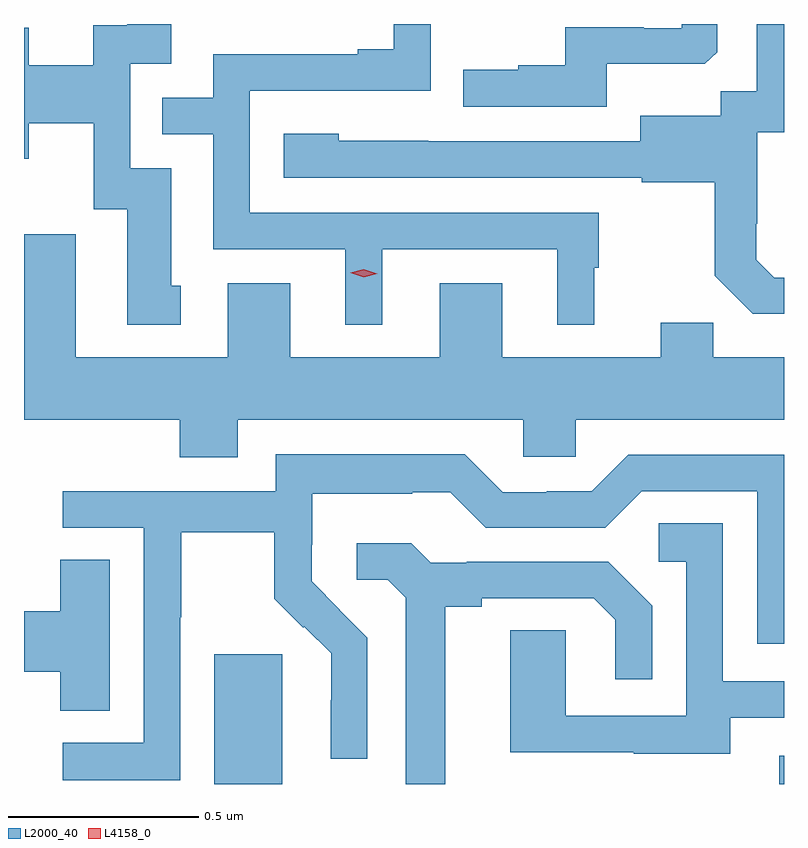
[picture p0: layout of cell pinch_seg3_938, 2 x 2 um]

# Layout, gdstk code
import gdstk
lib = gdstk.Library(unit=1e-6, precision=1e-09)
def R(c, l, rs):  # rectangles x0, y0, x1, y1
    for r in rs: c.add(gdstk.rectangle(r[:2], r[2:], *l))
def P(c, l, *ps):  # polygons
    for p in ps: c.add(gdstk.Polygon(p, *l))
L2000_40 = (2000, 40)
L4158_0 = (4158, 0)

pinch_seg3_938 = lib.new_cell('pinch_seg3_938')
R(pinch_seg3_938, L2000_40, [(862.403,675.981,862.582,676.323), (863.891,675.981,863.903,676.056)])
P(pinch_seg3_938, L2000_40, [(862.315,677.292),(862.291,677.292),(862.291,677.601),(862.182,677.601),(862.182,677.877),(862.291,677.877),(862.291,677.981),(862.175,677.981),(862.175,677.978),(862.085,677.978),(862.085,677.872),(861.916,677.872),(861.916,677.971),(861.903,677.971),(861.903,677.627),(861.916,677.627),(861.916,677.72),(862.086,677.72),(862.086,677.493),(862.175,677.493),(862.175,677.19),(862.315,677.19)],
  [(862.846,677.388),(863.306,677.388),(863.306,677.189),(863.404,677.189),(863.404,677.34),(863.416,677.34),(863.416,677.484),(862.497,677.484),(862.497,677.805),(862.974,677.805),(862.974,677.981),(862.876,677.981),(862.876,677.914),(862.781,677.914),(862.781,677.901),(862.401,677.901),(862.401,677.787),(862.267,677.787),(862.267,677.691),(862.401,677.691),(862.401,677.388),(862.748,677.388),(862.748,677.189),(862.846,677.189)],
  [(863.437,677.876),(863.695,677.876),(863.727,677.907),(863.727,677.981),(863.634,677.981),(863.634,677.97),(863.534,677.97),(863.534,677.973),(863.327,677.973),(863.327,677.872),(863.203,677.872),(863.203,677.86),(863.059,677.86),(863.059,677.763),(863.437,677.763)],
  [(863.903,677.313),(863.877,677.313),(863.83,677.36),(863.83,677.455),(863.832,677.455),(863.832,677.696),(863.903,677.696),(863.903,677.981),(863.831,677.981),(863.831,677.804),(863.736,677.804),(863.736,677.74),(863.525,677.74),(863.525,677.673),(862.967,677.673),(862.967,677.674),(862.731,677.674),(862.731,677.692),(862.587,677.692),(862.587,677.577),(863.529,677.577),(863.529,677.565),(863.721,677.565),(863.721,677.319),(863.821,677.219),(863.903,677.219)],
  [(862.465,676.94),(863.217,676.94),(863.217,676.842),(863.355,676.842),(863.355,676.94),(863.903,676.94),(863.903,677.104),(863.717,677.104),(863.717,677.195),(863.579,677.195),(863.579,677.104),(863.161,677.104),(863.161,677.299),(862.997,677.299),(862.997,677.104),(862.603,677.104),(862.603,677.299),(862.439,677.299),(862.439,677.104),(862.039,677.104),(862.039,677.428),(861.903,677.428),(861.903,676.94),(862.313,676.94),(862.313,676.841),(862.465,676.841)],
  [(862.314,676.42),(862.317,676.42),(862.317,676.644),(862.561,676.644),(862.561,676.469),(862.638,676.392),(862.641,676.395),(862.712,676.325),(862.712,676.202),(862.71,676.202),(862.71,676.048),(862.806,676.048),(862.806,676.366),(862.733,676.439),(862.734,676.44),(862.66,676.514),(862.66,676.611),(862.662,676.611),(862.662,676.745),(862.925,676.745),(862.925,676.749),(863.025,676.749),(863.118,676.656),(863.433,676.656),(863.529,676.752),(863.832,676.752),(863.832,676.35),(863.903,676.35),(863.903,676.848),(863.493,676.848),(863.397,676.752),(863.279,676.752),(863.279,676.749),(863.163,676.749),(863.063,676.849),(862.566,676.849),(862.566,676.752),(862.005,676.752),(862.005,676.656),(862.218,676.656),(862.218,676.089),(862.005,676.089),(862.005,675.991),(862.314,675.991)],
  [(863.761,676.155),(863.903,676.155),(863.903,676.251),(863.742,676.251),(863.742,676.667),(863.574,676.667),(863.574,676.566),(863.646,676.566),(863.646,676.161),(863.328,676.161),(863.328,676.385),(863.183,676.385),(863.183,676.065),(863.507,676.065),(863.507,676.061),(863.761,676.061)],
  [(863.011,676.448),(863.107,676.448),(863.107,676.47),(863.402,676.47),(863.459,676.413),(863.459,676.257),(863.556,676.257),(863.556,676.45),(863.44,676.566),(863.068,676.566),(863.068,676.563),(862.974,676.563),(862.922,676.615),(862.779,676.615),(862.779,676.518),(862.86,676.518),(862.907,676.471),(862.907,675.981),(863.011,675.981)],
  [(862.129,676.571),(861.998,676.571),(861.998,676.435),(861.903,676.435),(861.903,676.277),(861.998,676.277),(861.998,676.174),(862.129,676.174)])
P(pinch_seg3_938, L4158_0, [(862.797,677.315),(862.761,677.326),(862.761,677.326),(862.761,677.326),(862.797,677.335),(862.833,677.324),(862.833,677.324),(862.833,677.324)])

lib.write_gds('pinch_seg3_938.gds')
